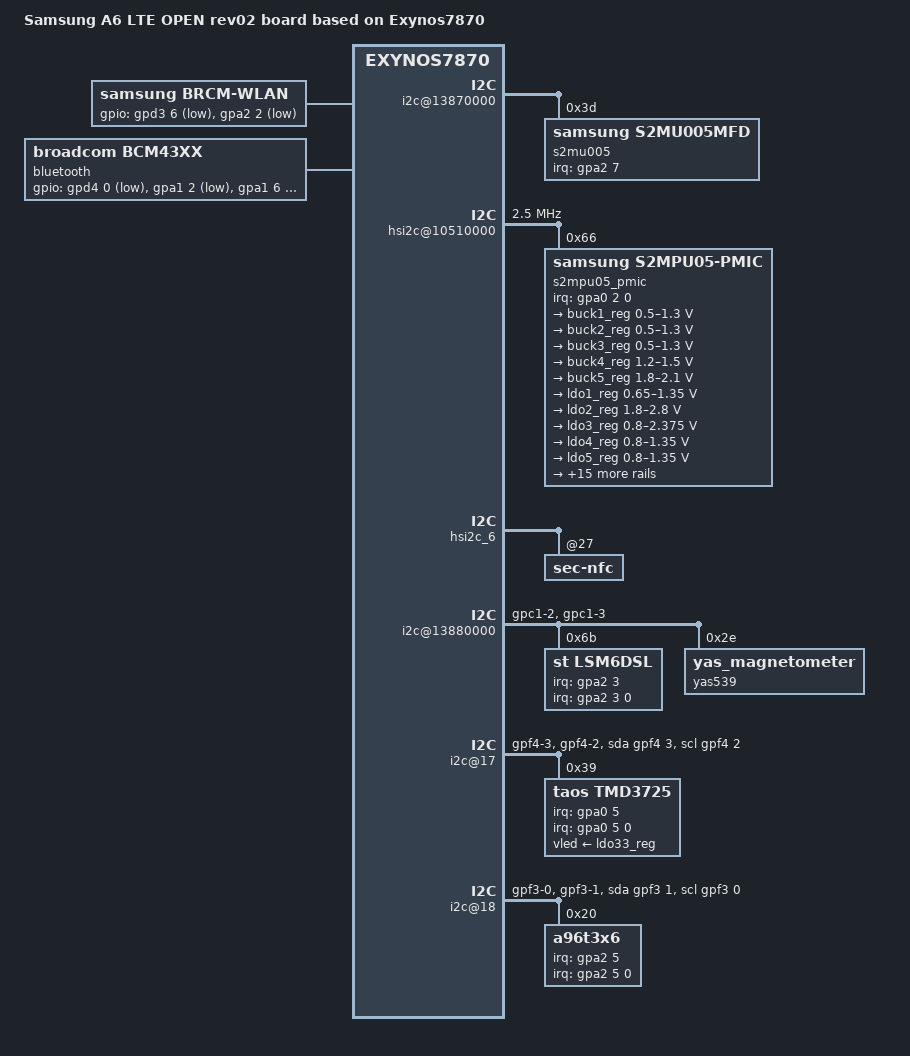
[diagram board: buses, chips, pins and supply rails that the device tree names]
/*
 * SAMSUNG UNIVERSAL8890 board device tree source
 *
 * Copyright (c) 2013 Samsung Electronics Co., Ltd.
 *		http://www.samsung.com
 *
 * This program is free software; you can redistribute it and/or modify
 * it under the terms of the GNU General Public License version 2 as
 * published by the Free Software Foundation.
 */

/dts-v1/;
#include "exynos7870-a6lte_common.dtsi"
#include "modem-ss315ap-pdata.dtsi"
#include "exynos7870-a6lte_eur_open_gpio_02.dtsi"
#include "exynos7870-a6lte_eur_open_battery_00.dtsi"
#include "exynos7870-a6lte_fingerprint-sensor_00.dtsi"

/ {
	model = "Samsung A6 LTE OPEN rev02 board based on Exynos7870";
	model_info-chip = <7870>;
	model_info-platform = "android";
	model_info-subtype = "samsung";
	model_info-hw_rev = <2>;
	model_info-hw_rev_end = <2>;
	compatible = "samsung, A6 LTE EUR OPEN 02", "samsung,exynos7870";

	i2c@13870000 {
		status = "okay";
		samsung,i2c-sda-delay = <100>;
		samsung,i2c-max-bus-freq = <400000>;

		s2mu005@3d {
			compatible = "samsung,s2mu005mfd";
			reg = <0x3d>;
			pinctrl-names = "default";
			pinctrl-0 = <&if_pmic_irq>;
			s2mu005,irq-gpio = <&gpa2 7 0>;
			s2mu005,wakeup;

			leds {
				flash-gpio = <&gpd3 2 0>;
				torch-gpio = <&gpd3 3 0>;

				flash_current = <1200>;
				preflash_current = <150>;
				movie_current = <175>; /*unused*/
				torch_current = <75>;
				factory_current = <300>;
				front_torch_current = <100>;

				status = "okay";
				s2mu005-leds1 {
					ledname = "leds-sec1";
					id = <0>;
					timeout = <15>; /* use gpio */
				};

				s2mu005-leds2 {
					ledname = "leds-sec2";
					id = <1>;
					timeout = <15>; /* use gpio */
				};
			};

			leds-rgb {
				led_current_tuning_count = <3>;	/* Number of Supported Panel Tuning */
				led_current_tuning = <
					0x0D6020	/* LCD ID: Gold Color */
					0x28 0x07 0x20   /* B G R LED MAX current for Normal Mode */
					0x28 0x07 0x20   /* B G R LED MAX current for Low power mode */
					0x0D6120	/* White Color */
					0x27 0x07 0x1E
					0x27 0x07 0x1E
					0x0D6220	/* Black Color */
					0x5C 0x0D 0x28
					0x5C 0x0D 0x28
					>;
			};

			muic {
				new_factory;
			};
		};
	};

	pinctrl@139B0000 {
		rgb_proxy_en: rgb_proxy_en {
			samsung,pins = "gpd2-3";
			samsung,pin-function = <0x1>;
			samsung,pin-pud = <0>;
			samsung,pin-val = <1>;
		};
	};

	hsi2c@10510000 {
		status = "okay";
		samsung,hs-mode;
		clock-frequency = <2500000>;
		samsung,hsi2c-batcher;
		#address-cells = <1>;
		#size-cells = <0>;

		s2mpu05_pmic@66 {
			compatible = "samsung,s2mpu05-pmic";
			reg = <0x66>;
			ten-bit-address;
			interrupts = <2 0 0>;
			interrupt-parent = <&gpa0>;
			pinctrl-names = "default";
			pinctrl-0 = <&pmic_irq &pm_wrsti>;
			g3d_en = <1>; /* 1 : enable , 0 : disable */
			buck2en_pin = "etc1-3";
			buck2en_addr = "139B0080.pinctrl";
			/* RTC: wtsr/smpl */
			wtsr_en = <1>; /* enable */
			smpl_en = <1>; /* enable */
			wtsr_timer_val = <3>;   /* 1000ms */
			smpl_timer_val = <0>;   /* 100ms */
			check_jigon = <0>; /* do not check jigon */
			/* RTC: If it's first boot, reset rtc to 1/1/2018 12:00:00(Mon) */
			init_time,sec = <0>;
			init_time,min = <0>;
			init_time,hour = <12>;
			init_time,mday = <1>;
			init_time,mon = <0>;
			init_time,year = <118>;
			init_time,wday = <1>;

			regulators {
				buck1_reg: BUCK1 {
					regulator-name = "BUCK1";
					regulator-min-microvolt = <500000>;
					regulator-max-microvolt = <1300000>;
					regulator-always-on;
					regulator-boot-on;
					regulator-ramp-delay = <12000>;
					regulator-initial-mode = <1>;
					regulator-expected-consumer = <2>;
				};

				buck2_reg: BUCK2 {
					regulator-name = "BUCK2";
					regulator-min-microvolt = <500000>;
					regulator-max-microvolt = <1300000>;
					regulator-always-on;
					regulator-boot-on;
					regulator-ramp-delay = <12000>;
					regulator-initial-mode = <2>;		/* MIF mode */
					regulator-expected-consumer = <4>;
				};

				buck3_reg: BUCK3 {
					regulator-name = "BUCK3";
					regulator-min-microvolt = <500000>;
					regulator-max-microvolt = <1300000>;
					regulator-always-on;
					regulator-boot-on;
					regulator-ramp-delay = <12000>;
					regulator-initial-mode = <2>;
				};

				buck4_reg: BUCK4 {
					regulator-name = "BUCK4";
					regulator-min-microvolt = <1200000>;
					regulator-max-microvolt = <1500000>;
					regulator-always-on;
					regulator-boot-on;
					regulator-ramp-delay = <12000>;
					regulator-initial-mode = <2>;
				};

				buck5_reg: BUCK5 {
					regulator-name = "BUCK5";
					regulator-min-microvolt = <1800000>;
					regulator-max-microvolt = <2100000>;
					regulator-always-on;
					regulator-boot-on;
					regulator-ramp-delay = <12000>;
					regulator-initial-mode = <2>;
				};

				ldo1_reg: LDO1 {
					regulator-name = "vdd_ldo1";
					regulator-min-microvolt = <650000>;
					regulator-max-microvolt = <1350000>;
					regulator-always-on;
					regulator-boot-on;
					regulator-ramp-delay = <12000>;
					regulator-initial-mode = <3>;
				};

				ldo2_reg: LDO2 {
					regulator-name = "vqmmc";
					regulator-min-microvolt = <1800000>;
					regulator-max-microvolt = <2800000>;
					regulator-ramp-delay = <12000>;
					regulator-initial-mode = <0>;
				};

				ldo3_reg: LDO3 {
					regulator-name = "vdd_ldo3";
					regulator-min-microvolt = <800000>;
					regulator-max-microvolt = <2375000>;
					regulator-boot-on;
					regulator-always-on;
					regulator-ramp-delay = <12000>;
					regulator-initial-mode = <3>;
				};

				ldo4_reg: LDO4 {
					regulator-name = "vdd_ldo4";
					regulator-min-microvolt = <800000>;
					regulator-max-microvolt = <1350000>;
					regulator-boot-on;
					regulator-always-on;
					regulator-ramp-delay = <12000>;
					regulator-initial-mode = <1>;
				};

				ldo5_reg: LDO5 {
					regulator-name = "vdd_ldo5";
					regulator-min-microvolt = <800000>;
					regulator-max-microvolt = <1350000>;
					regulator-boot-on;
					regulator-always-on;
					regulator-ramp-delay = <12000>;
					regulator-initial-mode = <3>;
				};

				ldo6_reg: LDO6 {
					regulator-name = "vdd_ldo6";
					regulator-min-microvolt = <800000>;
					regulator-max-microvolt = <1350000>;
					regulator-boot-on;
					regulator-always-on;
					regulator-ramp-delay = <12000>;
					regulator-initial-mode = <1>;
				};

				ldo7_reg: LDO7 {
					regulator-name = "vdd_ldo7";
					regulator-min-microvolt = <800000>;
					regulator-max-microvolt = <2375000>;
					regulator-boot-on;
					regulator-always-on;
					regulator-ramp-delay = <12000>;
					regulator-initial-mode = <1>;
				};

				ldo8_reg: LDO8 {
					regulator-name = "vdd_ldo8";
					regulator-min-microvolt = <1800000>;
					regulator-max-microvolt = <3375000>;
					regulator-boot-on;
					regulator-always-on;
					regulator-ramp-delay = <12000>;
					regulator-initial-mode = <1>;
				};

				ldo9_reg: LDO9 {
					regulator-name = "vdd_ldo9";
					regulator-min-microvolt = <650000>;
					regulator-max-microvolt = <1350000>;
					regulator-always-on;
					regulator-ramp-delay = <12000>;
					regulator-initial-mode = <1>;
				};

				ldo10_reg: LDO10 {
					regulator-name = "vdd_ldo10";
					regulator-min-microvolt = <650000>;
					regulator-max-microvolt = <1350000>;
					regulator-always-on;
					regulator-ramp-delay = <12000>;
					regulator-initial-mode = <1>;
				};

				ldo25_reg: LDO25 {
					regulator-name = "vdd_ldo25";
					regulator-min-microvolt = <800000>;
					regulator-max-microvolt = <2375000>;
					regulator-ramp-delay = <12000>;
					regulator-initial-mode = <1>;
				};

				ldo26_reg: LDO26 {
					regulator-name = "vemmc";
					regulator-min-microvolt = <1800000>;
					regulator-max-microvolt = <3375000>;
					regulator-boot-on;
					regulator-ramp-delay = <12000>;
					regulator-initial-mode = <3>;
				};

				ldo27_reg: LDO27 {
					regulator-name = "vqemmc";
					regulator-min-microvolt = <800000>;
					regulator-max-microvolt = <2375000>;
					regulator-boot-on;
					regulator-ramp-delay = <12000>;
					regulator-initial-mode = <3>;
				};

				ldo29_reg: LDO29 {
					regulator-name = "LCD_3P0";
					regulator-min-microvolt = <3000000>;
					regulator-max-microvolt = <3000000>;
					regulator-boot-on;
					regulator-initial-mode = <3>;
				};

				ldo30_reg: LDO30 {
					regulator-name = "LCD_1P8";
					regulator-min-microvolt = <1800000>;
					regulator-max-microvolt = <1800000>;
					regulator-boot-on;
					regulator-initial-mode = <3>;
				};

				ldo31_reg: LDO31 {
					regulator-name = "vdd_ldo31";
					regulator-min-microvolt = <2800000>;
					regulator-max-microvolt = <2800000>;
					regulator-boot-on;
					regulator-always-on;
					regulator-ramp-delay = <12000>;
					regulator-initial-mode = <3>;
				};

				ldo32_reg: LDO32 {
					regulator-name = "VDD_MOTOR_3.3";
					regulator-min-microvolt = <3300000>;
					regulator-max-microvolt = <3300000>;
					regulator-ramp-delay = <12000>;
				};

				ldo33_reg: LDO33 {
					regulator-name = "vdd_sensor_3p3";
					regulator-min-microvolt = <3300000>;
					regulator-max-microvolt = <3300000>;
					regulator-ramp-delay = <12000>;
					regulator-initial-mode = <3>;
				};

				ldo34_reg: LDO34 {
					regulator-name = "tsp_avdd";
					regulator-min-microvolt = <3300000>;
					regulator-max-microvolt = <3300000>;
				};

				ldo35_reg: LDO35 {
					regulator-name = "vtouch_2.8v";
					regulator-min-microvolt = <2800000>;
					regulator-max-microvolt = <2800000>;
					regulator-boot-on;
					regulator-ramp-delay = <12000>;
					regulator-initial-mode = <3>;
				};
			};
		};
	};

	hsi2c_6: hsi2c@138F0000 {
		status = "okay";
		sec-nfc@27 {
			sec-nfc,check_nfc = <&gpc0 2 0x0>;
			pinctrl-names = "default";
			pinctrl-0 = <&nfc_n5_firm &nfc_n5_clk_req &nfc_pd &nfc_int &nfc_pvdd_en &nfc_det>;
		};
	};

	i2c@13850000 {
		status = "disable";
	};

	wlan {
		compatible = "samsung,brcm-wlan";
		gpios = <&gpd3 6 0x1 /* WLAN_EN */
			&gpa2 2 0x1>; /* WLAN_HOST_WAKE */
		pinctrl-names = "default";
		pinctrl-0 = <&cfg_wlanen &cfg_wlanhostwake>;
		status = "okay";
	};

	pinctrl@13750000 {
		sd1_bus1: sd1-bus-width1 {
			samsung,pin-pud = <3>;
		};

		sd1_bus4: sd1-bus-width4 {
			samsung,pin-pud = <3>;
		};
	};

	bluetooth {
		compatible = "broadcom,bcm43xx";
		gpios = <&gpd4 0 0x1	/*BT_EN*/
			&gpa1 2 0x1	/*BT_WAKE*/
			&gpa1 6 0xF	/*BT_HOST_WAKE*/ >;
		pinctrl-names = "default";
		pinctrl-0=<&bt_hostwake_bcm &bt_btwake_bcm &bt_en_bcm>;
		status = "okay";
	};

	pinctrl@139F0000 {
		acc_int: acc_int {
			samsung,pins = "gpa2-3";
			samsung,pin-function = <0xf>;
			samsung,pin-pud = <0>;
			samsung,pin-drv = <0>;
		};

		prox_int: prox_int {
			samsung,pins = "gpa0-5";
			samsung,pin-function = <0xf>;
			samsung,pin-pud = <0>;
			samsung,pin-drv = <0>;
		};

		bt_btwake_bcm: bt-btwake {
			samsung,pins = "gpa1-2";
			samsung,pin-function = <1>;
			samsung,pin-pud = <0>;
			samsung,pin-con-pdn = <3>;
			samsung,pin-pud-pdn = <0>;
		};

		bt_hostwake_bcm: bt-hostwake {
			samsung,pins = "gpa1-6";
			samsung,pin-function = <0>;
			samsung,pin-pud = <0>;
			samsung,pin-con-pdn = <2>;
			samsung,pin-pud-pdn = <0>;
		};

		grip_int: grip_int {
			samsung,pins = "gpa2-5";
			samsung,pin-function = <0xf>;
			samsung,pin-pud = <0>;
		};

		grip_input: grip_input {
			samsung,pins = "gpa2-5";
			samsung,pin-function = <0>;
			samsung,pin-pud = <0>;
		};
	};

	pinctrl@139B0000 {
		/delete-node/ ese_pvdd_en;

		sensor_i2c: sensor_i2c {
			samsung,pins = "gpc1-2", "gpc1-3";
			samsung,pin-function = <2>;
			samsung,pin-pud = <0>;
		};

		proxy_i2c: proxy_i2c {
			samsung,pins = "gpf4-3", "gpf4-2";
			samsung,pin-function = <3>;
			samsung,pin-pud = <0>;
		};

		grip_i2c: grip_i2c {
			samsung,pins = "gpf3-0", "gpf3-1";
			samsung,pin-function = <2>;
			samsung,pin-pud = <0>;
			samsung,pin-drv = <0>;
		};

		grip_gpio: grip_gpio {
			samsung,pins = "gpf3-0", "gpf3-1";
			samsung,pin-function = <0>;
			samsung,pin-pud = <0>;
			samsung,pin-drv = <0>;
		};

		bt_en_bcm: bt-en {
			samsung,pins = "gpd4-0";
			samsung,pin-function = <1>;
			samsung,pin-pud = <0>;
			samsung,pin-con-pdn = <3>;
			samsung,pin-pud-pdn = <0>;
		};

		nfc_det: nfc-det {
			samsung,pins = "gpc0-2";
			samsung,pin-function = <0>;
			samsung,pin-pud = <0>;
		};
	};

	i2c@13880000 {
		samsung,i2c-sda-delay = <100>;
		samsung,i2c-max-bus-freq = <400000>;
		status = "okay";
		#address-cells = <1>;
		#size-cells = <0>;
		pinctrl-names = "default";
		pinctrl-0 = <&sensor_i2c>;

		lsm6dsl@6b {
			compatible = "st,lsm6dsl";
			reg = <0x6b>;
			pinctrl-names = "default";
			pinctrl-0 = <&acc_int>;
			interrupt-parent = <&gpa2>;
			interrupts = <3 0 0>;
			st,orientation = <0 1 1 1 0 1 1 1 2>;
			st,drdy-int-pin = <1>;
			st,irq_gpio = <&gpa2 3 0x00>;
		};

		yas539@2e {
			compatible = "yas_magnetometer";
			reg = <0x2e>;
			yas,orientation = <0>;
			yas,softiron = <9323 374 24 4 9977 87 565 530 10521>;
			yas,softiron_sign = <2 2 0 2 2 0 2 0 2>;
		};
	};

	i2c@17 {
		compatible = "i2c-gpio";
		gpios = <&gpf4 3 0 /* sda */
			&gpf4 2 0 /* scl */>;
		i2c-gpio,delay-us = <2>;
		i2c-gpio,scl-output-only;
		#address-cells = <1>;
		#size-cells = <0>;
		status = "okay";
		pinctrl-names = "default";
		pinctrl-0 = <&proxy_i2c>;

		tmd3725@39 {
			compatible = "taos,tmd3725";
			reg = <0x39>;
			pinctrl-names = "default";
			pinctrl-0 = <&prox_int &rgb_proxy_en>;
			interrupt-parent = <&gpa0>;
			interrupts = <5 0 0>;
			taos,irq_gpio = <&gpa0 5 0x00>;
			taos,vled-supply = <&ldo33_reg>;
			taos,prox_thd_det_hi = <55>;
			taos,prox_thd_still_det_low = <40>;
			taos,prox_thd_still_det_hi = <250>;
			taos,prox_thd_rel_low = <130>;
			taos,coef_r = <(-830)>;
			taos,coef_g = <1100>;
			taos,coef_b = <(-1180)>;
			taos,coef_c = <1000>;
			taos,dgf = <842>;
			taos,cct_coef = <3521>;
			taos,cct_offset = <2095>;
		};
	};

	i2c@18 {
		compatible = "i2c-gpio";
		gpios = <&gpf3 1 0 /* sda */
			&gpf3 0 0 /* scl */>;
		i2c-gpio,delay-us = <2>;
		#address-cells = <1>;
		#size-cells = <0>;
		status = "okay";
		pinctrl-names = "default","on_i2c","off_i2c";
		pinctrl-0 = <&grip_i2c>;
		pinctrl-1 = <&grip_i2c>;
		pinctrl-2 = <&grip_gpio>;

		a96t3x6@20 {
			status = "okay";
			compatible = "a96t3x6";
			pinctrl-names = "default";
			pinctrl-0 = <&grip_int>;
			#pinctrl-names = "on_irq", "off_irq";
			#pinctrl-0 = <&grip_int>;
			#pinctrl-1 = <&grip_input>;
			reg = <0x20>;
			interrupt-parent = <&gpa2>;
			interrupts = <5 0 0>;
			a96t3x6,irq_gpio = <&gpa2 5 0>;
			a96t3x6,fw_path = "abov/a96t326_a6lte.fw";
			a96t3x6,firmup_cmd = <0x32>;
			a96t3x6,earjack_noise = <1>;
		};
	};

	fimc_is_module_2p6: fimc-is_sensor_2p6@10 {
		gpio_cam_core_en = <&gpc8 0 0x1>; /* VTCAM_CORE_EN */
	};
};
